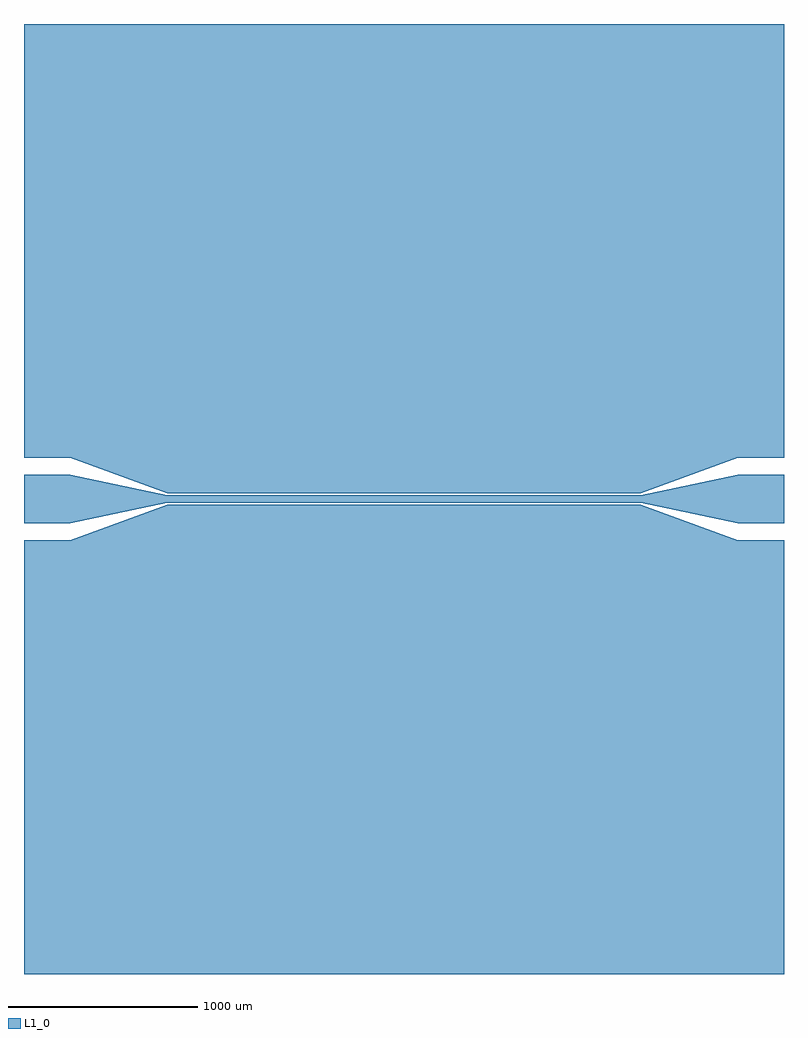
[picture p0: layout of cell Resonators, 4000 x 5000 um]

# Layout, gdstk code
import gdstk
lib = gdstk.Library(unit=1e-6, precision=1e-06)
def P(c, l, *ps):  # polygons
    for p in ps: c.add(gdstk.Polygon(p, *l))
L1_0 = (1, 0)

resonators = lib.new_cell('Resonators')
P(resonators, L1_0, [(-2000,-127),(-2000,127),(-1756,127),(-1246,20),(1246,20),(1756,127),(2000,127),(2000,-127),(1756,-127),(1246,-20),(-1246,-20),(-1756,-127)],
  [(-2000,-2500),(-2000,-217),(-1756,-217),(-1246,-30),(1246,-30),(1756,-217),(2000,-217),(2000,-2500)],
  [(-1246,30),(-1756,217),(-2000,217),(-2000,2500),(2000,2500),(2000,217),(1756,217),(1246,30)])
resonators.add(gdstk.FlexPath([(1050,-65),(500,-65),(500,-2065),(800,-2065),(800,-565),(1100,-565),(1100,-1340)], 50, ends="extended", simple_path=True, layer=1, datatype=0))  # L1_0
resonators.add(gdstk.FlexPath([(-450,-65),(-1000,-65),(-1000,-2065),(-700,-2065),(-700,-565),(-400,-565),(-400,-1480)], 30, ends="extended", simple_path=True, layer=1, datatype=0))  # L1_0
resonators.add(gdstk.FlexPath([(-450,-65),(-1000,-65),(-1000,-2065),(-700,-2065),(-700,-565),(-400,-565),(-400,-1465)], 50, ends="extended", simple_path=True, layer=1, datatype=0))  # L1_0
resonators.add(gdstk.FlexPath([(500,65),(1050,65),(1050,2065),(750,2065),(750,565),(450,565),(450,1090)], 50, ends="extended", simple_path=True, layer=1, datatype=0))  # L1_0
resonators.add(gdstk.FlexPath([(500,65),(1050,65),(1050,2065),(750,2065),(750,565),(450,565),(450,1105)], 30, ends="extended", simple_path=True, layer=1, datatype=0))  # L1_0
resonators.add(gdstk.FlexPath([(-1000,65),(-450,65),(-450,2065),(-750,2065),(-750,565),(-1050,565),(-1050,1230)], 30, ends="extended", simple_path=True, layer=1, datatype=0))  # L1_0
resonators.add(gdstk.FlexPath([(-1000,65),(-450,65),(-450,2065),(-750,2065),(-750,565),(-1050,565),(-1050,1215)], 50, ends="extended", simple_path=True, layer=1, datatype=0))  # L1_0
resonators.add(gdstk.FlexPath([(1050,-65),(500,-65),(500,-2065),(800,-2065),(800,-565),(1100,-565),(1100,-1355)], 30, ends="extended", simple_path=True, layer=1, datatype=0))  # L1_0

lib.write_gds('Resonators.gds')
